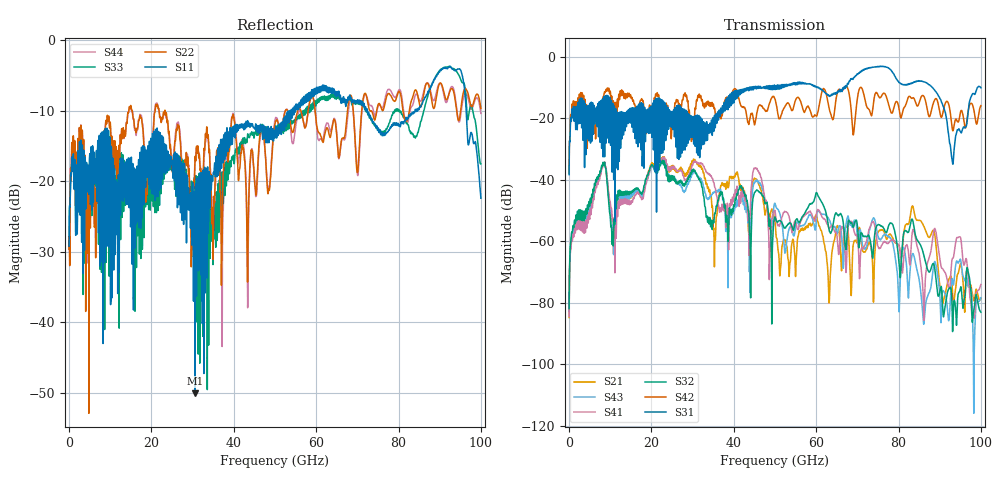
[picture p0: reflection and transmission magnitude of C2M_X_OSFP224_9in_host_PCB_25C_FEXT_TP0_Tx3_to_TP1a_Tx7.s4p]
# GHz S RI R 45
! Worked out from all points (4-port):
!   4000 points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, 25 MHz to 100 GHz, reference 45 ohm
!   strongest paths, dB at 25 MHz, 25.02 GHz, 50.02 GHz, 75.03 GHz, 100 GHz:
!     S31: -38.3, -18.0, -10.6, -3.3, -10.1
!     S42: -37.9, -22.2, -13.8, -12.5, -15.9
!     S32: -81.9, -40.0, -52.1, -54.6, -83.1
!     S41: -84.5, -36.4, -50.1, -61.7, -74.1
!     S43: -82.9, -39.5, -47.8, -58.4, -78.4
!     S21: -84.8, -36.6, -53.8, -57.0, -78.6
!   lowest |S11| = -50.1 dB at 30.57 GHz (marker M1), VSWR 1.01, Z = 45.2 - j0.171 ohm
!   |S11| at or under -10 dB: start of sweep to 53.6 GHz; 72.45 GHz to 83.99 GHz (11.54 GHz wide, 14.8 % of centre); 96.43 GHz to end of sweep (the widest 3 of 10)
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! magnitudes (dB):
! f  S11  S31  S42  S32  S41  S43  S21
! 25 MHz  -29.2  -38.3  -37.9  -81.9  -84.5  -82.9  -84.8
! 8.325 GHz  -19.5  -22.3  -12.9  -34.6  -34.8  -34.6  -34.7
! 11.03 GHz  -18.2  -16.0  -15.8  -54.1  -57.0  -58.2  -57.4
! 30.57 GHz  -50.1  -24.5  -16.9  -37.0  -33.9  -37.5  -33.4
! 76.4 GHz  -13.5  -3.2  -11.9  -55.8  -60.4  -58.1  -56.8
! 93.12 GHz  -4.1  -34.7  -23.9  -89.3  -65.5  -72.7  -77.0
! 100 GHz  -22.4  -10.1  -15.9  -83.1  -74.1  -78.4  -78.6
